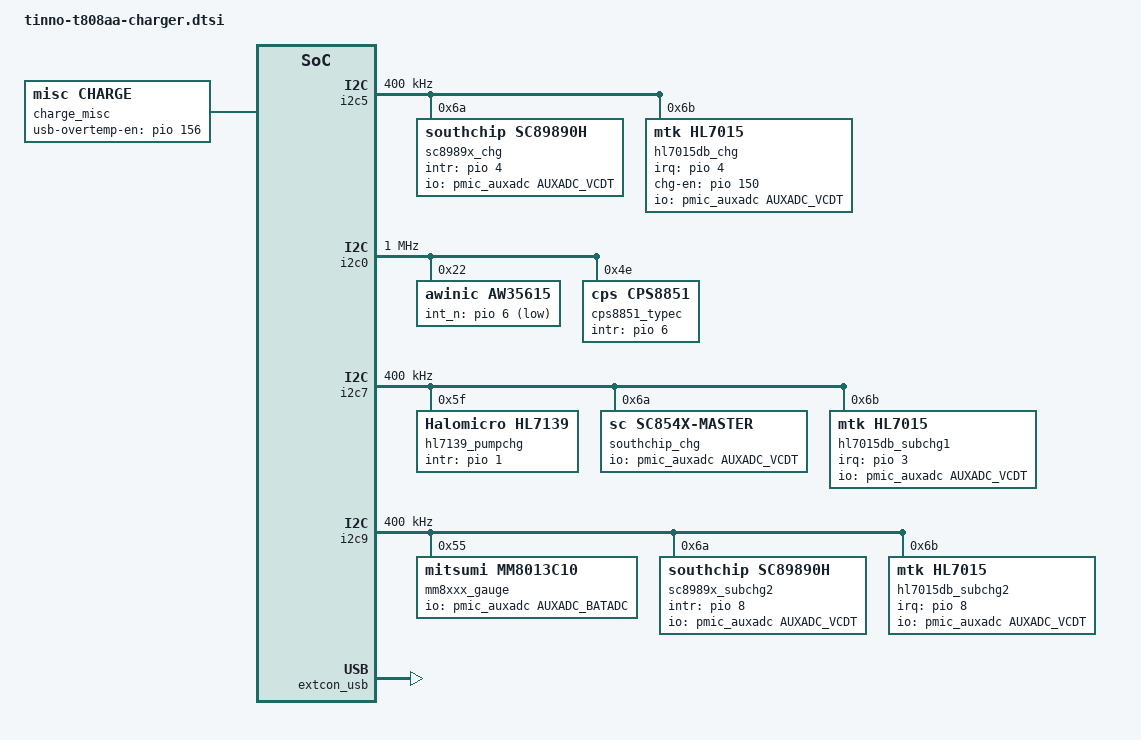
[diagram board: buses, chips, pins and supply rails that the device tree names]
#include <dt-bindings/iio/mt635x-auxadc.h>

&i2c5 {
	clock-frequency = <400000>;

	sc8989x_chg: chg@6A {
		compatible = "southchip,sc89890h";
		reg = <0x6A>;
		status = "okay";
		eint_name = "chr_stat";
		sc,intr-gpio = <&pio 4 IRQ_TYPE_EDGE_FALLING>;
		charger_name = "primary_chg";
		io-channels = <&pmic_auxadc AUXADC_VCDT>;
		io-channel-names = "pmic_vbus";
		sc,sc8989x,ico-en = <0>;
		sc,sc8989x,hvdcp-en = <1>;
		sc,sc8989x,auto-dpdm-en = <0>;
		sc,sc8989x,vsys-min = <5>; /*3500mV*/
		sc,sc8989x,vbatmin-sel = <0>; /*0:2.9V 1:2.5V*/
		sc,sc8989x,itrick = <3>; /*60 + val *60*/
		sc,sc8989x,iterm = <8>; /*30 + val * 60*/
		sc,sc8989x,vbat-cv = <40>; /*3840 + val * 16*/
		sc,sc8989x,vbat-low = <1>; /*0:2.8V 1:3V*/
		sc,sc8989x,vrechg = <1>; /*0:100mV 1:200mV*/
		sc,sc8989x,en-term = <1>;
		sc,sc8989x,stat-dis = <0>;
		sc,sc8989x,wd-time = <0>; /*0:Dis 1:40s 2:80s 3:160s*/
		sc,sc8989x,en-timer = <1>;
		sc,sc8989x,charge-timer = <2>; /*0:5h 1:8h 2:12h 3:20h*/
		sc,sc8989x,bat-comp = <0>; /*val * 20*/
		sc,sc8989x,vclamp = <0>; /*val *32*/
		sc,sc8989x,votg = <12>; /*3900 + val * 100*/
		sc,sc8989x,iboost = <7>; /*0:0.5A 3:1.4A 5:1.875A 7:2.45A*/
		sc,sc8989x,force_vindpm = <0>;
		sc,sc8989x,vindpm = <21>; /*2600 + val * 100*/
	};

	hl7015db_chg: chg@6B {
		compatible = "mtk,hl7015";
		reg = <0x6B>;
		status = "okay";
		irq-gpio = <&pio 4 IRQ_TYPE_EDGE_FALLING>;
		chg-en-gpio = <&pio 150 IRQ_TYPE_EDGE_FALLING>;
		io-channels = <&pmic_auxadc AUXADC_VCDT>;
		io-channel-names = "pmic_vbus";
		chg-name = "primary_chg";
	};
};

&i2c0 {
	clock-frequency = <1000000>;

	aw35615@22 {
		compatible = "awinic,aw35615";
		reg = <0x22>;
		status = "okay";
		awinic,int_n = <&pio 6 1>;
		aw35615,snk_pdo_size = <1>; /* set sink pdo num*/
		aw35615,snk_pdo_vol = <5000>; /* set sink pdo voltage mV*/
		aw35615,snk_pdo_cur = <2000>; /* set sink pdo current mA*/
		aw35615,src_pdo_size = <1>; /* set source pdo num*/
		aw35615,src_pdo_vol = <5000>; /* set source pdo voltage mV*/
		aw35615,src_pdo_cur = <1000>; /* set source pdo current mA*/
		aw35615,snk_tog_time = <0x38>; /* set toggle sink time */
		aw35615,src_tog_time = <0x24>; /* set toggle source time */
	};

	cps8851_typec: cps8851@4e {
		compatible = "cps,cps8851";
		reg = <0x4e>;
		status = "okay";
		rt-tcpc,name = "type_c_port0"; /* tcpc_device's name */
		rt1711pd,intr_gpio = <&pio 6 0x0>;
		rt1711pd,intr_gpio_num = <6>;
		rt-tcpc,role_def = <5>; /* 0: Unknown, 1: SNK, 2: SRC, 3: DRP, 4: Try.SRC, 5: Try.SNK */
		rt-tcpc,rp_level = <0>; /* 0: Default, 1: 1.5, 2: 3.0 */
		rt-tcpc,vconn_supply  = <3>;  /* 0: Never, 1: Always, 2: EMarkOnly, 3: StartOnly */
	};
};

&i2c7 {
	clock-frequency = <400000>;

	hl7139_pumpchg@5F {
		compatible = "Halomicro,HL7139";
		reg = <0x5F>;
		intr-gpios = <&pio 1 0x0>;
		status = "okay";
		rm_name = "primary_dvchg";
	};

	southchip_chg@6A{
		compatible = "sc,sc854x-master", "southchip,sc89890h";
		reg = <0x6A>;
		io-channels = <&pmic_auxadc AUXADC_VCDT>;
		io-channel-names = "pmic_vbus";
		status = "okay";
		pump {
			sc,sc854x,irq-gpio = <&pio 1 IRQ_TYPE_EDGE_FALLING>;
			charger_name = "primary_dvchg";
			sc,sc854x,adc-rate = <0>;  /* 0:Continuous conversion  1:One-shot */
			sc,sc854x,bat-ovp-disable = <0>;  /* 0:enable protetion  1:disable protetion */
			sc,sc854x,bat-ocp-disable = <1>;  /* 0:enable protetion  1:disable protetion */
			sc,sc854x,vdrop-ovp-disable = <0>;  /* 0:enable protetion  1:disable protetion */
			sc,sc854x,bus-ovp-disable = <0>;  /* 0:enable protetion  1:disable protetion */
			sc,sc854x,bus-ucp-disable = <0>;  /* 0:enable protetion  1:disable protetion */
			sc,sc854x,bus-ocp-disable = <0>;  /* 0:enable protetion  1:disable protetion */
			sc,sc854x,bat-ovp-threshold = <41>;  /* val * 25 + 3500 mv [0-63] */
			sc,sc854x,bat-ocp-threshold = <50>;  /* val * 100 + 2000 ma [0-63] */
			sc,sc854x,ac-ovp-threshold = <2>;  /* val * 1000 + 11000 mv  [0-7] when val = 7 the value = 6500mv */
			sc,sc854x,bus-ovp-threshold = <100>;  /* val * 50 + 6000 mv [0-127] */
			sc,sc854x,bus-ocp-threshold = <10>;  /* val * 300 + 1200 ma [0-15] */
			sc,sc854x,sense-resistor-mohm = <0>;  /* 0:5mΩ 1:2mΩ */
			sc,sc854x,reg-timeout-disable = <0>;  /* 0:enable 1:disable */
			sc,sc854x,ibat-regulation-enable = <0>;  /* 0:disable 1:enable */
			sc,sc854x,vbat-regulation-enable = <0>;  /* 0:disable 1:enable */
			sc,sc854x,ibat-regulation-threshold = <1>;  /* 0:200 mA 1:300 mA 2:400 mA 3:500 mA */
			sc,sc854x,vbat-regulation-threshold = <0>;  /* 0:50 mV 1:100 mV 2:150 mV 3:200 mV */
			sc,sc854x,vdrop-deglitch = <0>;  /* 0:5ms 1:8us */
			sc,sc854x,vdrop-ovp-threshold = <1>;  /* 0:300mV 1:400mV */
		};

		buck {
			eint_name = "chr_stat";
			sc,intr-gpio = <&pio 3 IRQ_TYPE_EDGE_FALLING>;
			charger_name = "sub_chg1";
			sc,sc8989x,ico-en = <0>;
			sc,sc8989x,hvdcp-en = <0>;
			sc,sc8989x,auto-dpdm-en = <0>;
			sc,sc8989x,vsys-min = <5>; /*3500mV*/
			sc,sc8989x,vbatmin-sel = <0>; /*0:2.9V 1:2.5V*/
			sc,sc8989x,itrick = <3>; /*60 + val *60*/
			sc,sc8989x,iterm = <12>; /*30 + val * 60*/
			sc,sc8989x,vbat-cv = <40>; /*3840 + val * 16*/
			sc,sc8989x,vbat-low = <1>; /*0:2.8V 1:3V*/
			sc,sc8989x,vrechg = <1>; /*0:100mV 1:200mV*/
			sc,sc8989x,en-term = <1>;
			sc,sc8989x,stat-dis = <0>;
			sc,sc8989x,wd-time = <0>; /*0:Dis 1:40s 2:80s 3:160s*/
			sc,sc8989x,en-timer = <1>;
			sc,sc8989x,charge-timer = <2>; /*0:5h 1:8h 2:12h 3:20h*/
			sc,sc8989x,bat-comp = <0>; /*val * 20*/
			sc,sc8989x,vclamp = <0>; /*val *32*/
			sc,sc8989x,votg = <12>; /*3900 + val * 100*/
			sc,sc8989x,iboost = <7>; /*0:0.5A 3:1.4A 5:1.875A 7:2.45A*/
			sc,sc8989x,force_vindpm = <0>;
			sc,sc8989x,vindpm = <21>; /*2600 + val * 100*/
		};
	};

	hl7015db_subchg1: chg@6B {
		compatible = "mtk,hl7015";
		reg = <0x6B>;
		status = "okay";
		irq-gpio = <&pio 3 IRQ_TYPE_EDGE_FALLING>;
		io-channels = <&pmic_auxadc AUXADC_VCDT>;
		io-channel-names = "pmic_vbus";
		chg-name = "sub_chg1";
		hl7015db,iterm = <768000>;
	};
};

&i2c9 {
	clock-frequency = <400000>;

	mm8xxx_gauge: gauge@55 {
		compatible = "mitsumi,mm8013c10";
		reg = <0x55>;
		status = "okay";
		io-channels = <&pmic_auxadc AUXADC_BATADC>;
		io-channel-names = "pmic_vbat";
	};

	sc8989x_subchg2: chg@6A {
		compatible = "southchip,sc89890h";
		reg = <0x6A>;
		status = "okay";
		eint_name = "chr_stat";
		sc,intr-gpio = <&pio 8 IRQ_TYPE_EDGE_FALLING>;
		charger_name = "sub_chg2";
		io-channels = <&pmic_auxadc AUXADC_VCDT>;
		io-channel-names = "pmic_vbus";
		sc,sc8989x,ico-en = <0>;
		sc,sc8989x,hvdcp-en = <0>;
		sc,sc8989x,auto-dpdm-en = <0>;
		sc,sc8989x,vsys-min = <5>; /*3500mV*/
		sc,sc8989x,vbatmin-sel = <0>; /*0:2.9V 1:2.5V*/
		sc,sc8989x,itrick = <3>; /*60 + val *60*/
		sc,sc8989x,iterm = <12>; /*30 + val * 60*/
		sc,sc8989x,vbat-cv = <40>; /*3840 + val * 16*/
		sc,sc8989x,vbat-low = <1>; /*0:2.8V 1:3V*/
		sc,sc8989x,vrechg = <1>; /*0:100mV 1:200mV*/
		sc,sc8989x,en-term = <1>;
		sc,sc8989x,stat-dis = <0>;
		sc,sc8989x,wd-time = <0>; /*0:Dis 1:40s 2:80s 3:160s*/
		sc,sc8989x,en-timer = <1>;
		sc,sc8989x,charge-timer = <2>; /*0:5h 1:8h 2:12h 3:20h*/
		sc,sc8989x,bat-comp = <0>; /*val * 20*/
		sc,sc8989x,vclamp = <0>; /*val *32*/
		sc,sc8989x,votg = <12>; /*3900 + val * 100*/
		sc,sc8989x,iboost = <7>; /*0:0.5A 3:1.4A 5:1.875A 7:2.45A*/
		sc,sc8989x,force_vindpm = <0>;
		sc,sc8989x,vindpm = <21>; /*2600 + val * 100*/
	};

	hl7015db_subchg2: chg@6B {
		compatible = "mtk,hl7015";
		reg = <0x6B>;
		status = "okay";
		irq-gpio = <&pio 8 IRQ_TYPE_EDGE_FALLING>;
		io-channels = <&pmic_auxadc AUXADC_VCDT>;
		io-channel-names = "pmic_vbus";
		chg-name = "sub_chg2";
		hl7015db,iterm = <768000>;
	};
};

&extcon_usb {
	status = "okay";
};

&charger {
	gauge = <&mm8xxx_gauge>;
	charger_configuration = <3>;
	max_charger_voltage = <10000000>;
	battery_cv = <4512000>;
	min_charger_voltage = <4700000>;
	ac_charger_current = <1980000>;
	ac_charger_input_current = <2000000>;

	enable_sw_jeita;
	jeita_temp_above_t4_cv = <4480000>;
	jeita_temp_t3_to_t4_cv = <4176000>;
	jeita_temp_t2_to_t3_cv = <4520000>;
	jeita_temp_t1_to_t2_cv = <4520000>;
	jeita_temp_t0_to_t1_cv = <4480000>;
	jeita_temp_below_t0_cv = <4480000>;
	temp_t4_thres = <50>;
	temp_t4_thres_minus_x_degree = <50>;
	temp_t3_thres = <45>;
	temp_t3_thres_minus_x_degree = <45>;
	temp_t2_thres = <15>;
	temp_t2_thres_plus_x_degree = <15>;
	temp_t1_thres = <0>;
	temp_t1_thres_plus_x_degree = <0>;
	temp_t0_thres = <0>;
	temp_t0_thres_plus_x_degree = <0>;
	temp_neg_10_thres = <0>;
};

&mtk_ctd {
        bc12_sel = <2>;
};

&pdc {
	gauge = <&mm8xxx_gauge>;
	pd_stop_battery_soc = <0>;
};

&u2port0 {
	mediatek,eye-vrt = <6>;
	mediatek,eye-vrt-host = <5>;
	mediatek,eye-term-host = <6>;
	mediatek,rev6-host = <2>;
};

&pe5 {
	ifod_threshold = <600>;
	idvchg_ss_init = <1500>;
	tdvchg_level_def = <0 0 0 5 25 75 80 85 90>;
	ita_level = <4400 4400 4000 3500>;
	vta_cap_max = <11000>;
	vbat_cv = <4520>;
	idvchg_term = <700>;
	start_soc_max = <90>;
	start_vbat_max = <4350>;
	chg_time_max = <14400>;
	gauge = <&mm8xxx_gauge>;
};

&lk_charger {
        ac_charger_current = <2000000>;
        ac_charger_input_current = <2000000>;
        non_std_ac_charger_current = <2000000>;
        fast_charge_voltage = <3200000>;
        boot_battery_voltage = <3500000>;
};

&{/} {
	charge_misc {
		compatible = "misc,charge";
		usb-overtemp-en-gpio = <&pio 156 IRQ_TYPE_EDGE_FALLING>;
		usb-temp-zone-name = "usb_temp";
	};
};

